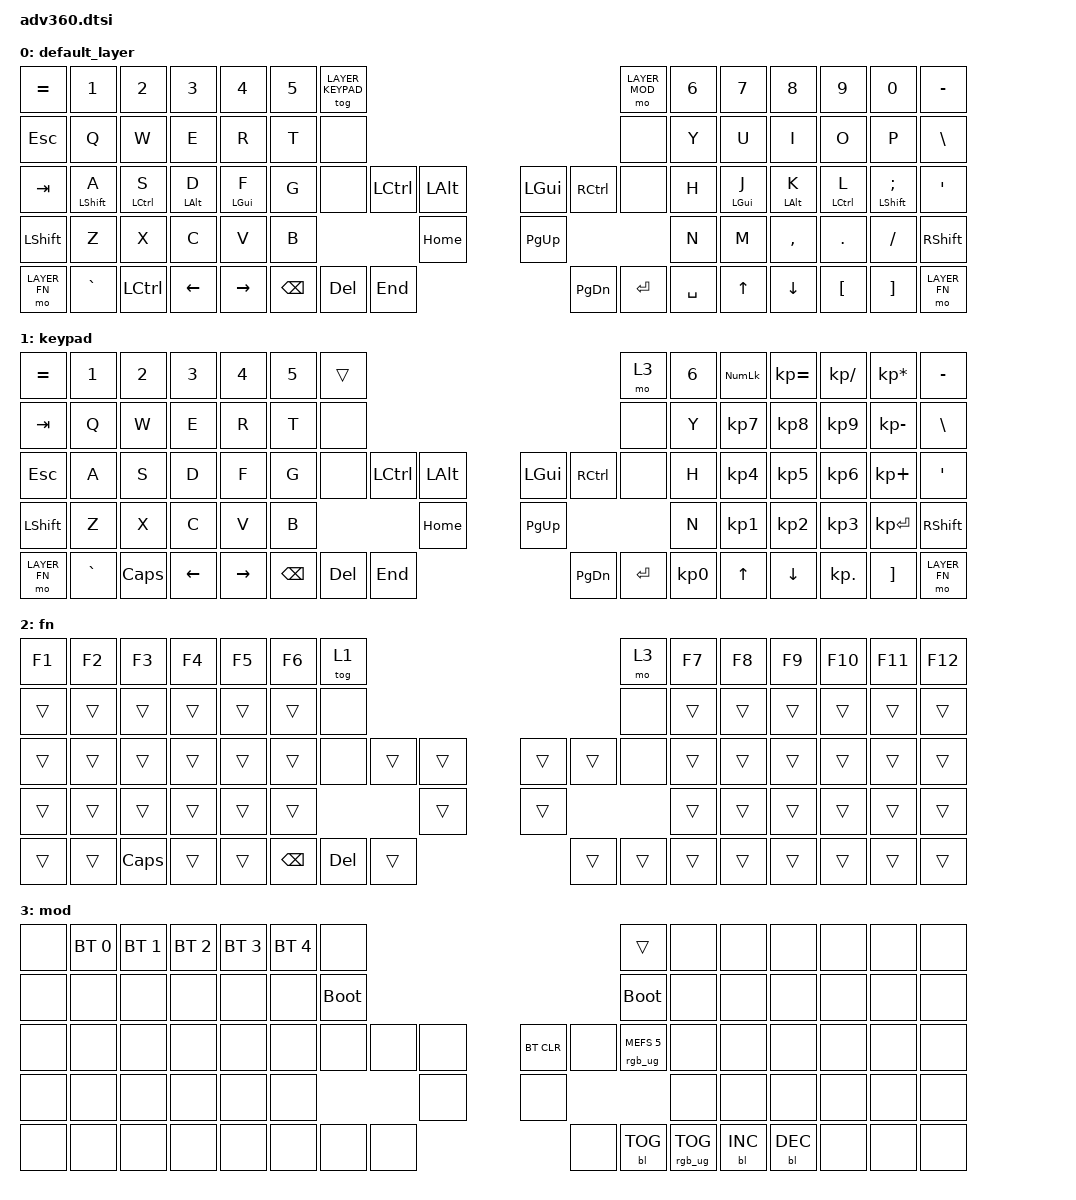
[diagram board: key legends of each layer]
#include "keypos_adv360.h"

// Layers
#define LAYER_DEFAULT 0       // Main
#define LAYER_KEYPAD  1       // Keypad
#define LAYER_FN      2       // Fn
#define LAYER_MOD     3       // Mod


/ {

  combos {
      compatible = "zmk,combos";
      combo_left_workspace {
          timeout-ms = <50>;
          key-positions = <KN_C KN_V>;
          bindings = <&kp LC(LEFT)>;
          layers = <LAYER_DEFAULT>;
      };
      combo_right_workspace {
          timeout-ms = <50>;
          key-positions = <KN_M KN_COMM>;
          bindings = <&kp LC(RIGHT)>;
          layers = <LAYER_DEFAULT>;
      };
  };


  behaviors {
    #include "macros.dtsi"

    // https://precondition.github.io/home-row-mods
    hm: homerow_mods {
        compatible = "zmk,behavior-hold-tap";
        label = "HOMEROW_MODS";
        #binding-cells = <2>;
        tapping-term-ms = <150>;
        quick-tap-ms = <0>;
        flavor = "tap-preferred";
        bindings = <&kp>, <&kp>;
    };
  };

  keymap {
    compatible = "zmk,keymap";

    default_layer {
      bindings = <
     //╭──────────────────────┬──────────────────────┬──────────────────────┬──────────────────────┬──────────────────────┬──────────────────────┬──────────────────────┬──────────────────────┬──────────────────────┬──────────────────────╮╭──────────────────────╮╭──────────────────────┬──────────────────────┬──────────────────────┬──────────────────────┬──────────────────────┬──────────────────────┬──────────────────────┬──────────────────────┬──────────────────────┬──────────────────────╮
        &kp EQUAL              &kp N1                 &kp N2                 &kp N3                 &kp N4                 &kp N5                 &tog LAYER_KEYPAD                                                                                                                                                                         &mo LAYER_MOD          &kp N6                 &kp N7                 &kp N8                 &kp N9                 &kp N0                 &kp MINUS
        &kp ESC                &kp Q                  &kp W                  &kp E                  &kp R                  &kp T                  &none                                                                                                                                                                                     &none                  &kp Y                  &kp U                  &kp I                  &kp O                  &kp P                  &kp BSLH
        &kp TAB                &hm LSHIFT A           &hm LCTRL S            &hm LALT D             &hm LGUI F             &kp G                  &none                                         &kp LCTRL              &kp LALT                                        &kp LGUI               &kp RCTRL                                     &none                  &kp H                  &hm LGUI J             &hm LALT K             &hm LCTRL L            &hm LSHIFT SEMI        &kp SQT
        &kp LSHFT              &kp Z                  &kp X                  &kp C                  &kp V                  &kp B                                                                                       &kp HOME                                        &kp PG_UP                                                                                   &kp N                  &kp M                  &kp COMMA              &kp DOT                &kp FSLH               &kp RSHFT
        &mo LAYER_FN           &kp GRAVE              &kp LCTRL              &kp LEFT               &kp RIGHT                                                            &kp BSPC               &kp DEL                &kp END                                         &kp PG_DN              &kp ENTER              &kp SPACE                                                            &kp UP                 &kp DOWN               &kp LBKT               &kp RBKT               &mo LAYER_FN
     //╰──────────────────────┴──────────────────────┴──────────────────────┴──────────────────────┴──────────────────────┴──────────────────────┴──────────────────────┴──────────────────────┴──────────────────────┴──────────────────────╯╰──────────────────────╯╰──────────────────────┴──────────────────────┴──────────────────────┴──────────────────────┴──────────────────────┴──────────────────────┴──────────────────────┴──────────────────────┴──────────────────────┴──────────────────────╯
      >;
    };
    keypad {
      bindings = <
     //╭──────────────────────┬──────────────────────┬──────────────────────┬──────────────────────┬──────────────────────┬──────────────────────┬──────────────────────┬──────────────────────┬──────────────────────┬──────────────────────╮╭──────────────────────╮╭──────────────────────┬──────────────────────┬──────────────────────┬──────────────────────┬──────────────────────┬──────────────────────┬──────────────────────┬──────────────────────┬──────────────────────┬──────────────────────╮
        &kp EQUAL              &kp N1                 &kp N2                 &kp N3                 &kp N4                 &kp N5                 &trans                                                                                                                                                                                    &mo 3                  &kp N6                 &kp KP_NUM             &kp KP_EQUAL           &kp KP_DIVIDE          &kp KP_MULTIPLY        &kp MINUS
        &kp TAB                &kp Q                  &kp W                  &kp E                  &kp R                  &kp T                  &none                                                                                                                                                                                     &none                  &kp Y                  &kp KP_N7              &kp KP_N8              &kp KP_N9              &kp KP_MINUS           &kp BSLH
        &kp ESC                &kp A                  &kp S                  &kp D                  &kp F                  &kp G                  &none                                         &kp LCTRL              &kp LALT                                        &kp LGUI               &kp RCTRL                                     &none                  &kp H                  &kp KP_N4              &kp KP_N5              &kp KP_N6              &kp KP_PLUS            &kp SQT
        &kp LSHFT              &kp Z                  &kp X                  &kp C                  &kp V                  &kp B                                                                                       &kp HOME                                        &kp PG_UP                                                                                   &kp N                  &kp KP_N1              &kp KP_N2              &kp KP_N3              &kp KP_ENTER           &kp RSHFT
        &mo LAYER_FN           &kp GRAVE              &kp CAPS               &kp LEFT               &kp RIGHT                                                            &kp BSPC               &kp DEL                &kp END                                         &kp PG_DN              &kp ENTER              &kp KP_N0                                                            &kp UP                 &kp DOWN               &kp KP_DOT             &kp RBKT               &mo LAYER_FN
     //╰──────────────────────┴──────────────────────┴──────────────────────┴──────────────────────┴──────────────────────┴──────────────────────┴──────────────────────┴──────────────────────┴──────────────────────┴──────────────────────╯╰──────────────────────╯╰──────────────────────┴──────────────────────┴──────────────────────┴──────────────────────┴──────────────────────┴──────────────────────┴──────────────────────┴──────────────────────┴──────────────────────┴──────────────────────╯
      >;
    };
    fn {
      bindings = <
     //╭──────────────────────┬──────────────────────┬──────────────────────┬──────────────────────┬──────────────────────┬──────────────────────┬──────────────────────┬──────────────────────┬──────────────────────┬──────────────────────╮╭──────────────────────╮╭──────────────────────┬──────────────────────┬──────────────────────┬──────────────────────┬──────────────────────┬──────────────────────┬──────────────────────┬──────────────────────┬──────────────────────┬──────────────────────╮
        &kp F1                 &kp F2                 &kp F3                 &kp F4                 &kp F5                 &kp F6                 &tog 1                                                                                                                                                                                    &mo 3                  &kp F7                 &kp F8                 &kp F9                 &kp F10                &kp F11                &kp F12
        &trans                 &trans                 &trans                 &trans                 &trans                 &trans                 &none                                                                                                                                                                                     &none                  &trans                 &trans                 &trans                 &trans                 &trans                 &trans
        &trans                 &trans                 &trans                 &trans                 &trans                 &trans                 &none                                         &trans                 &trans                                          &trans                 &trans                                        &none                  &trans                 &trans                 &trans                 &trans                 &trans                 &trans
        &trans                 &trans                 &trans                 &trans                 &trans                 &trans                                                                                      &trans                                          &trans                                                                                      &trans                 &trans                 &trans                 &trans                 &trans                 &trans
        &trans                 &trans                 &kp CAPS               &trans                 &trans                                                               &kp BSPC               &kp DEL                &trans                                          &trans                 &trans                 &trans                                        &trans                 &trans                 &trans                 &trans                 &trans
     //╰──────────────────────┴──────────────────────┴──────────────────────┴──────────────────────┴──────────────────────┴──────────────────────┴──────────────────────┴──────────────────────┴──────────────────────┴──────────────────────╯╰──────────────────────╯╰──────────────────────┴──────────────────────┴──────────────────────┴──────────────────────┴──────────────────────┴──────────────────────┴──────────────────────┴──────────────────────┴──────────────────────┴──────────────────────╯
      >;
    };
    mod {
      bindings = <
     //╭──────────────────────┬──────────────────────┬──────────────────────┬──────────────────────┬──────────────────────┬──────────────────────┬──────────────────────┬──────────────────────┬──────────────────────┬──────────────────────╮╭──────────────────────╮╭──────────────────────┬──────────────────────┬──────────────────────┬──────────────────────┬──────────────────────┬──────────────────────┬──────────────────────┬──────────────────────┬──────────────────────┬──────────────────────╮
        &none                  &bt BT_SEL 0           &bt BT_SEL 1           &bt BT_SEL 2           &bt BT_SEL 3           &bt BT_SEL 4           &none                                                                                                                                                                                     &trans                 &none                  &none                  &none                  &none                  &none                  &none
        &none                  &none                  &none                  &none                  &none                  &none                  &bootloader                                                                                                                                                                               &bootloader            &none                  &none                  &none                  &none                  &none                  &none
        &none                  &none                  &none                  &none                  &none                  &none                  &none                                         &none                  &none                                           &bt BT_CLR             &none                                         &rgb_ug RGB_MEFS_CMD 5 &none                  &none                  &none                  &none                  &none                  &none
        &none                  &none                  &none                  &none                  &none                  &none                                                                                       &none                                           &none                                                                                       &none                  &none                  &none                  &none                  &none                  &none
        &none                  &none                  &none                  &none                  &none                                                                &none                  &none                  &none                                           &none                  &bl BL_TOG             &rgb_ug RGB_TOG                               &bl BL_INC             &bl BL_DEC             &none                  &none                  &none
     //╰──────────────────────┴──────────────────────┴──────────────────────┴──────────────────────┴──────────────────────┴──────────────────────┴──────────────────────┴──────────────────────┴──────────────────────┴──────────────────────╯╰──────────────────────╯╰──────────────────────┴──────────────────────┴──────────────────────┴──────────────────────┴──────────────────────┴──────────────────────┴──────────────────────┴──────────────────────┴──────────────────────┴──────────────────────╯
      >;
    };
  };
};
